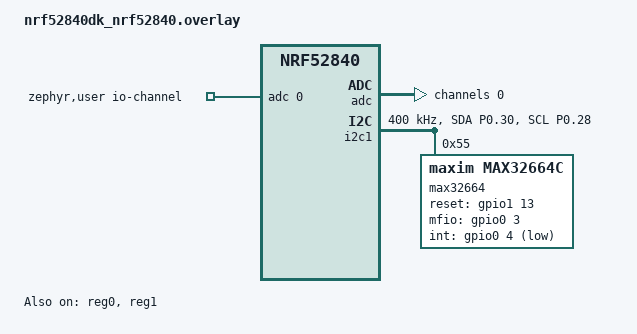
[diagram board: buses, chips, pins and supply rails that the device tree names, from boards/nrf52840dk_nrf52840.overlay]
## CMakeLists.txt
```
cmake_minimum_required(VERSION 3.20.0)

# 1. Tell Zephyr about the custom YAML binding we made
list(APPEND dts_root ${CMAKE_CURRENT_SOURCE_DIR})

find_package(Zephyr REQUIRED HINTS $ENV{ZEPHYR_BASE})
project(PPG)

# 2. Compile all the driver files
target_sources(app PRIVATE
    src/main.c
    src/event_log.c
    # src/max32664_fw.h
    src/ble.c
    src/max32664c.c
    src/max32664c_init.c
    src/max32664c_worker.c
    src/max32664c_interrupt.c
    src/max32664c_acc.c
    src/max32664c_bl.c
)
```

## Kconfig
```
menu "MAX32664C Configuration"
    config MAX32664C_QUEUE_SIZE
        int "Queue size"
        default 10
    config MAX32664C_SAMPLE_BUFFER_SIZE
        int "I2C Sample buffer size"
        default 10
    config MAX32664C_THREAD_STACK_SIZE
        int "Worker thread stack size"
        default 1024
    config MAX32664C_USE_STATIC_MEMORY
        bool "Use static memory"
        default y
    config MAX32664C_USE_EXTENDED_REPORTS
        bool "Use extended reports"
        default n
    config MAX32664C_USE_INTERRUPT
        bool "Use interrupt"
        default n
    config MAX32664C_USE_EXTERNAL_ACC
        bool "Use external accelerometer"
        default n
endmenu

source "Kconfig.zephyr"
```

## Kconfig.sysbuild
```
#
# Copyright (c) 2024 Nordic Semiconductor
#
# SPDX-License-Identifier: LicenseRef-Nordic-5-Clause
#

source "share/sysbuild/Kconfig"

config NRF_DEFAULT_IPC_RADIO
	default y
```

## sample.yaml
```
# sample:
#   description: Peripheral with multiple identities sample
#   name: Peripheral with multiple identities
# tests:
#   sample.bluetooth.peripheral_with_multiple_identities:
#     sysbuild: true
#     integration_platforms:
#       - nrf52840dk/nrf52840
#       - nrf5340dk/nrf5340/cpuapp
#       - nrf54l15dk/nrf54l05/cpuapp
#       - nrf54l15dk/nrf54l10/cpuapp
#       - nrf54l15dk/nrf54l15/cpuapp
#       - nrf54h20dk/nrf54h20/cpurad
#       - nrf54lm20dk/nrf54lm20a/cpuapp
#       - nrf54lv10dk/nrf54lv10a/cpuapp
#     platform_allow:
#       - nrf52840dk/nrf52840
#       - nrf5340dk/nrf5340/cpuapp
#       - nrf54l15dk/nrf54l05/cpuapp
#       - nrf54l15dk/nrf54l10/cpuapp
#       - nrf54l15dk/nrf54l15/cpuapp
#       - nrf54h20dk/nrf54h20/cpurad
#       - nrf54lm20dk/nrf54lm20a/cpuapp
#       - nrf54lv10dk/nrf54lv10a/cpuapp
#       - nrf54lv10dk/nrf54lv10a/cpuapp/ns
#     tags:
#       - bluetooth
#       - ci_build
#       - sysbuild
#     harness: console
#     harness_config:
#       type: multi_line
#       ordered: true
#       regex:
#         - "Bluetooth initialized"
#         - "Advertiser 19 successfully started"
#     timeout: 15


sample:
  name: Heart Rate Sensor Sample
common:
  filter: dt_alias_exists("heart-rate-sensor")
  harness: sensor
tests:
  sample.sensor.heart_rate:
    tags: sensors
    platform_allow: hexiwear/mk64f12
    depends_on:
      - i2c
    integration_platforms:
      - hexiwear/mk64f12
  sample.sensor.heart_rate_interrupt:
    tags: sensors
    platform_allow: nrf52840dk/nrf52840
    depends_on:
      - i2c
    integration_platforms:
      - nrf52840dk/nrf52840
    extra_configs:
      - CONFIG_GPIO=y
      - CONFIG_MAX30101_TRIGGER_GLOBAL_THREAD=y
```

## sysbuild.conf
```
SB_CONFIG_BOOTLOADER_MCUBOOT=n
```

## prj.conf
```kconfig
CONFIG_NCS_SAMPLES_DEFAULTS=y
CONFIG_REGULATOR=y
CONFIG_ADC=y
CONFIG_POWEROFF=n

CONFIG_DEBUG_OPTIMIZATIONS=y
CONFIG_DEBUG_THREAD_INFO=y
CONFIG_DEBUG=y

# CONFIG_BOOTLOADER_MCUBOOT=y
# CONFIG_MCUMGR=y
# CONFIG_MCUMGR_TRANSPORT_BT=y
# CONFIG_MCUMGR_TRANSPORT_BT_CONN_PARAM_CONTROL=y
# CONFIG_MCUMGR_TRANSPORT_BT_REASSEMBLY=y
# CONFIG_MCUMGR_GRP_IMG=y
# CONFIG_MCUMGR_GRP_OS=y
# CONFIG_IMG_MANAGER=y
# CONFIG_FLASH=y
# CONFIG_FLASH_MAP=y
# CONFIG_STREAM_FLASH=y
# CONFIG_NET_BUF=y
# CONFIG_ZCBOR=y
# CONFIG_CRC=y

CONFIG_I2C=y
CONFIG_GPIO=y
CONFIG_SENSOR=y
CONFIG_FPU=n

CONFIG_BT_DEVICE_NAME="PPG_e785f6"
CONFIG_BT=y
CONFIG_BT_PERIPHERAL=y
CONFIG_BT_EXT_ADV=y
CONFIG_BT_GAP_AUTO_UPDATE_CONN_PARAMS=n
CONFIG_BT_GATT_CLIENT=y

CONFIG_BT_BUF_ACL_RX_SIZE=267
CONFIG_BT_BUF_ACL_TX_SIZE=267
CONFIG_BT_L2CAP_TX_MTU=263


CONFIG_CLOCK_CONTROL_NRF_K32SRC_XTAL=y
CONFIG_CLOCK_CONTROL_NRF_K32SRC_RC=n
CONFIG_BT_CTLR_SDC_MAX_CONN_EVENT_LEN_DEFAULT=0

CONFIG_STDOUT_CONSOLE=y

CONFIG_PM=n
CONFIG_PM_DEVICE=n
CONFIG_PM_DEVICE_RUNTIME=n

CONFIG_MAX32664C_USE_INTERRUPT=n
CONFIG_MAX32664C_QUEUE_SIZE=100

CONFIG_SERIAL=n
CONFIG_UART_CONSOLE=n
CONFIG_UART_NRFX=n
CONFIG_LOG=y
CONFIG_LOG_MODE_DEFERRED=n
CONFIG_LOG_TIMESTAMP_64BIT=y

CONFIG_HEAP_MEM_POOL_SIZE=4096

# CONFIG_PRINTK=n
# CONFIG_USE_SEGGER_RTT=n
# CONFIG_RTT_CONSOLE=n
# CONFIG_LOG_BACKEND_RTT=n
# CONFIG_SEGGER_RTT_MODE_NO_BLOCK_SKIP=n

CONFIG_PRINTK=y
CONFIG_USE_SEGGER_RTT=y
CONFIG_RTT_CONSOLE=y
CONFIG_LOG_BACKEND_RTT=y
CONFIG_SEGGER_RTT_MODE_NO_BLOCK_SKIP=y
CONFIG_LOG_MODE_MINIMAL=n
```

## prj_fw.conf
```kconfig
CONFIG_NCS_SAMPLES_DEFAULTS=y
# Increase I2C timeout for the 8KB page transfers
CONFIG_I2C_NRFX_TRANSFER_TIMEOUT=500

# Ensure the I2C driver is using the high-performance DMA (TWIM)
CONFIG_I2C_NRFX=y

CONFIG_I2C=y
CONFIG_GPIO=y

CONFIG_PRINTK=y
CONFIG_STDOUT_CONSOLE=y

CONFIG_USE_SEGGER_RTT=y
CONFIG_RTT_CONSOLE=y
CONFIG_LOG=n
CONFIG_SERIAL=n
CONFIG_UART_CONSOLE=n
CONFIG_UART_NRFX=n

CONFIG_MAIN_STACK_SIZE=4096
CONFIG_HEAP_MEM_POOL_SIZE=16384
CONFIG_ASSERT=y

# CONFIG_NCS_SAMPLES_DEFAULTS=y
# CONFIG_REGULATOR=y
# CONFIG_ADC=y
# CONFIG_POWEROFF=y

# # CONFIG_BOOTLOADER_MCUBOOT=y
# # CONFIG_NCS_SAMPLE_MCUMGR_BT_OTA_DFU=y
# # CONFIG_MCUMGR=y
# # CONFIG_MCUMGR_TRANSPORT_BT=y
# # CONFIG_MCUMGR_GRP_IMG=y
# # CONFIG_MCUMGR_GRP_OS=y

# CONFIG_I2C=y
# CONFIG_GPIO=y
# CONFIG_SENSOR=y
# CONFIG_FPU=n

# CONFIG_BT_DEVICE_NAME="ADS1292"
# CONFIG_BT=y
# CONFIG_BT_PERIPHERAL=y
# CONFIG_BT_EXT_ADV=y
# CONFIG_BT_GAP_AUTO_UPDATE_CONN_PARAMS=n
# CONFIG_BT_GATT_CLIENT=y

# CONFIG_BT_BUF_ACL_RX_SIZE=267
# CONFIG_BT_BUF_ACL_TX_SIZE=267
# CONFIG_BT_L2CAP_TX_MTU=263


# CONFIG_CLOCK_CONTROL_NRF_K32SRC_XTAL=y
# CONFIG_CLOCK_CONTROL_NRF_K32SRC_RC=n
# CONFIG_BT_CTLR_SDC_MAX_CONN_EVENT_LEN_DEFAULT=0

# CONFIG_STDOUT_CONSOLE=y

# CONFIG_PM=y
# CONFIG_PM_DEVICE=y
# CONFIG_PM_DEVICE_RUNTIME=y
# CONFIG_MAX32664C_USE_INTERRUPT=n

# CONFIG_SERIAL=n
# CONFIG_UART_CONSOLE=n
# CONFIG_UART_NRFX=n
# CONFIG_LOG=n
# CONFIG_LOG_MODE_DEFERRED=n

# CONFIG_HEAP_MEM_POOL_SIZE=16384

# # CONFIG_PRINTK=n
# # CONFIG_USE_SEGGER_RTT=n
# # CONFIG_RTT_CONSOLE=n
# # CONFIG_LOG_BACKEND_RTT=n
# # CONFIG_SEGGER_RTT_MODE_NO_BLOCK_SKIP=n

# CONFIG_PRINTK=y
# CONFIG_USE_SEGGER_RTT=y
# CONFIG_RTT_CONSOLE=y
# CONFIG_LOG_BACKEND_RTT=y
# CONFIG_SEGGER_RTT_MODE_NO_BLOCK_SKIP=y
```

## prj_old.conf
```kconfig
CONFIG_NCS_SAMPLES_DEFAULTS=y
CONFIG_REGULATOR=y
CONFIG_ADC=y
CONFIG_POWEROFF=y

# CONFIG_BOOTLOADER_MCUBOOT=y
# CONFIG_NCS_SAMPLE_MCUMGR_BT_OTA_DFU=y
# CONFIG_MCUMGR=y
# CONFIG_MCUMGR_TRANSPORT_BT=y
# CONFIG_MCUMGR_GRP_IMG=y
# CONFIG_MCUMGR_GRP_OS=y

CONFIG_I2C=y
CONFIG_GPIO=y
CONFIG_SENSOR=y
CONFIG_FPU=n

CONFIG_BT_DEVICE_NAME="ADS1292"
CONFIG_BT=y
CONFIG_BT_PERIPHERAL=y
CONFIG_BT_EXT_ADV=y
CONFIG_BT_GAP_AUTO_UPDATE_CONN_PARAMS=n
CONFIG_BT_GATT_CLIENT=y

CONFIG_BT_BUF_ACL_RX_SIZE=267
CONFIG_BT_BUF_ACL_TX_SIZE=267
CONFIG_BT_L2CAP_TX_MTU=263


CONFIG_CLOCK_CONTROL_NRF_K32SRC_XTAL=y
CONFIG_CLOCK_CONTROL_NRF_K32SRC_RC=n
CONFIG_BT_CTLR_SDC_MAX_CONN_EVENT_LEN_DEFAULT=0

CONFIG_STDOUT_CONSOLE=y
CONFIG_PM=y
CONFIG_PM_DEVICE=y
CONFIG_PM_DEVICE_RUNTIME=y

CONFIG_MAX32664C_USE_INTERRUPT=n
CONFIG_MAX32664C_QUEUE_SIZE=100

CONFIG_SERIAL=n
CONFIG_UART_CONSOLE=n
CONFIG_UART_NRFX=n
CONFIG_LOG=n
CONFIG_LOG_MODE_DEFERRED=n

CONFIG_HEAP_MEM_POOL_SIZE=4096

# CONFIG_PRINTK=n
# CONFIG_USE_SEGGER_RTT=n
# CONFIG_RTT_CONSOLE=n
# CONFIG_LOG_BACKEND_RTT=n
# CONFIG_SEGGER_RTT_MODE_NO_BLOCK_SKIP=n

CONFIG_PRINTK=y
CONFIG_USE_SEGGER_RTT=y
CONFIG_RTT_CONSOLE=y
CONFIG_LOG_BACKEND_RTT=y
CONFIG_SEGGER_RTT_MODE_NO_BLOCK_SKIP=y
```

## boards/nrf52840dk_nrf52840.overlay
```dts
#include <zephyr/dt-bindings/gpio/gpio.h>
#include <zephyr/dt-bindings/i2c/i2c.h>
#include <zephyr/dt-bindings/pinctrl/nrf-pinctrl.h>
#include <zephyr/dt-bindings/adc/adc.h>
#include <zephyr/dt-bindings/regulator/nrf5x.h>


/ {
    zephyr,user {
        /* This maps the "zephyr_user" path in your main.c to ADC channel 0 */
        io-channels = <&adc 0>;
    };
};

&adc {
    status = "okay";
    #address-cells = <1>;
    #size-cells = <0>;

    channel@0 {
        reg = <0>;
        zephyr,gain = "ADC_GAIN_1_2";
        zephyr,reference = "ADC_REF_INTERNAL";
        zephyr,acquisition-time = <ADC_ACQ_TIME_DEFAULT>;
        zephyr,input-positive = <NRF_SAADC_VDDHDIV5>;
        zephyr,resolution = <12>;
    };
};

&reg0 {
    status = "okay";
};

&reg1 {
    status = "okay";
    regulator-initial-mode = <NRF5X_REG_MODE_LDO>;
};

&pinctrl {
    i2c1_default: i2c1_default {
        group1 {
            psels = <NRF_PSEL(TWIM_SDA, 0, 30)>,
                    <NRF_PSEL(TWIM_SCL, 0, 28)>;
            // bias-pull-up;
        };
    };

    i2c1_sleep: i2c1_sleep {
        group1 {
            psels = <NRF_PSEL(TWIM_SDA, 0, 30)>,
                    <NRF_PSEL(TWIM_SCL, 0, 28)>;
            low-power-enable;
        };
    };
};

&i2c1 {
    compatible = "nordic,nrf-twim";
    status = "okay";
    pinctrl-0 = <&i2c1_default>;
    pinctrl-1 = <&i2c1_sleep>;
    pinctrl-names = "default", "sleep";
    clock-frequency = <400000>;


    max32664: max32664@55 {
        compatible = "maxim,max32664c";
        reg = <0x55>;
        status = "okay";

        reset-gpios = <&gpio1 13 GPIO_ACTIVE_HIGH>;
        mfio-gpios = <&gpio0 3 GPIO_ACTIVE_HIGH>;
        int-gpios  = <&gpio0 4 (GPIO_PULL_UP | GPIO_ACTIVE_LOW)>;

        use-max86141;
        report-period = <1>;

        led-current = <20 20 20>;
        spo2-calib = <15958422 1847171 (-10546543)>;
        hr-config = [00 01];
        spo2-config = [11 21];
        motion-threshold = <10>;
        motion-time = <1>;

        /* Enums mapped to the YAML binding */
        min-integration-time = "0.4ms";
        max-integration-time = "1.6ms";
        min-sampling-rate = "100Hz";
        max-sampling-rate = "400Hz";
    };
};

&gpio1 {
	status = "okay";
};
```

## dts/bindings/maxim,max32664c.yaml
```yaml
# dts/bindings/maxim,max32664c.yaml
description: MAX32664C Biometric Sensor Hub
compatible: "maxim,max32664c"
include: i2c-device.yaml

properties:
  reset-gpios:
    type: phandle-array
    required: true
  mfio-gpios:
    type: phandle-array
    required: true
  int-gpios:
    type: phandle-array
  use-max86141:
    type: boolean
  use-max86161:
    type: boolean
  report-period:
    type: int
  led-current:
    type: array
  spo2-calib:
    type: array
  hr-config:
    type: uint8-array
  spo2-config:
    type: uint8-array
  motion-threshold:
    type: int
  motion-time:
    type: int
  min-integration-time:
    type: string
    enum: ["0.4ms", "0.8ms", "1.6ms"]
  max-integration-time:
    type: string
    enum: ["0.4ms", "0.8ms", "1.6ms"]
  min-sampling-rate:
    type: string
    enum: ["100Hz", "400Hz"]
  max-sampling-rate:
    type: string
    enum: ["100Hz", "400Hz"]
```

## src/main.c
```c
#include <zephyr/kernel.h>
#include <zephyr/device.h>
#include <zephyr/drivers/sensor.h>
#include <zephyr/drivers/gpio.h>
#include <zephyr/sys/printk.h>
#include <zephyr/bluetooth/bluetooth.h>
#include <zephyr/bluetooth/conn.h>
#include <zephyr/drivers/adc.h>
#include <zephyr/sys/poweroff.h>
#include <hal/nrf_gpio.h>
#include <zephyr/pm/device.h>
#include <hal/nrf_power.h>
#include <nrfx.h>
#include <zephyr/pm/device_runtime.h>
#include <zephyr/sys/atomic.h>
#include <zephyr/sys/time_units.h>
#include <zephyr/sys/util.h>
#include <limits.h>

#include "max32664c.h"
#include "max32664c_api.h"
#include "ble.h"
#include "event_log.h"

/* --- Hardware Pin Definitions --- */
#define MAX32664_RSTN_PIN  13  // Pin 1.13 (Reset)
#define MAX32664_MFIO_PIN  3   // Pin 0.3  (Multi-Function IO)
#define PACKET_LEN 20
#define SENSOR_RING_CAPACITY 2000
#define MAX_FETCH_PER_PASS 1
#define MAX_NOTIFY_BATCHES_PER_PASS 1
#define BACKLOG_NOTIFY_BOOST_THRESHOLD 50
#define MAX_NOTIFY_BATCHES_PER_PASS_BOOSTED 2
#define DEBUG_STATS_INTERVAL_MS 1000
#define BLE_TX_THREAD_STACK_SIZE 2048
#define BLE_TX_THREAD_PRIORITY 5
// #define AVG_WINDOW 20

// typedef struct {
//     float samples[AVG_WINDOW];
//     float sum;
//     int index;
//     int count;
// } MovingAverage;

// void moving_average_init(MovingAverage *ma) {
//     ma->sum = 0.0f;
//     ma->index = 0;
//     ma->count = 0;
//     for (int i = 0; i < AVG_WINDOW; i++) {
//         ma->samples[i] = 0.0f;
//     }
// }

// float moving_average_update(MovingAverage *ma, float sample) {
//     if (ma->count < AVG_WINDOW) {
//         ma->samples[ma->index] = sample;
//         ma->sum += sample;
//         ma->count++;
//     } else {
//         ma->sum -= ma->samples[ma->index];
//         ma->samples[ma->index] = sample;
//         ma->sum += sample;
//     }

//     ma->index = (ma->index + 1) % AVG_WINDOW;
//     return ma->sum / (float)ma->count;
// }

/* Structure for BLE data transmission */
struct __packed sensor_packet {
    uint32_t timestamp;
    uint32_t ecg;   // GREEN LED Data
    uint32_t resp;  // Battery Data
};

struct sensor_ring_buffer {
    struct sensor_packet packets[SENSOR_RING_CAPACITY];
    size_t write_idx;
    size_t read_idx;
    size_t used;
    uint32_t overwritten_samples;
};

static struct sensor_ring_buffer sample_ring;
static struct sensor_packet notify_batch[PACKET_LEN];
static atomic_t session_active = ATOMIC_INIT(0);
static atomic_t explicit_stop_requested = ATOMIC_INIT(0);
static uint64_t session_start_ms;
static bool sensor_streaming;
K_MUTEX_DEFINE(session_lock);
static K_MUTEX_DEFINE(ring_lock);
static K_THREAD_STACK_DEFINE(ble_tx_thread_stack, BLE_TX_THREAD_STACK_SIZE);
static struct k_thread ble_tx_thread_data;

// MovingAverage battery_avg;

K_SEM_DEFINE(ble_ready_sem, 0, 1);

static int regulators_init(void)
{
    NRF_POWER->DCDCEN0 = 1;  /* REG0 -> DC/DC */
    NRF_POWER->DCDCEN  = 0;  /* REG1 -> LDO  */
    NRF_SPIM3->ENABLE = 0;
    *(volatile uint32_t *)0x4002F004 = 1;

    return 0;
}

SYS_INIT(regulators_init, PRE_KERNEL_1, 0);

/* Global Device Pointers */
const struct device *gpio0_dev = DEVICE_DT_GET(DT_NODELABEL(gpio0));
const struct device *gpio1_dev = DEVICE_DT_GET(DT_NODELABEL(gpio1));
const struct device *max32664_dev;
static const struct adc_dt_spec adc_channel = ADC_DT_SPEC_GET(DT_PATH(zephyr_user));
const struct i2c_dt_spec max32664_i2c_spec = I2C_DT_SPEC_GET(DT_NODELABEL(max32664));

extern int max32664c_init(const struct device *dev);
extern int max32664c_pm_action(const struct device *dev, enum pm_device_action action);
extern int max32664c_disable_sensors(const struct device *dev);
extern int max32664c_afe_write_reg(const struct device *dev, uint8_t reg, uint8_t val);


/******************** Function Prototypes ********************/
uint32_t read_battery_mv(void);
void on_ble_connect(struct bt_conn *conn, uint8_t err);
void on_ble_disconnect(struct bt_conn *conn, uint8_t reason);
extern int max32664c_i2c_transmit(const struct device *dev, uint8_t *tx_buf, uint8_t tx_len,
                                  uint8_t *rx_buf, uint32_t rx_len, uint16_t delay_ms);
int measurement_session_start(void);
int measurement_session_stop(bool explicit_stop);


int16_t adc_buf;
struct adc_sequence sequence = {
    .buffer = &adc_buf,
    .buffer_size = sizeof(adc_buf),
};

uint32_t read_battery_mv(void) {
    if (adc_read(adc_channel.dev, &sequence) < 0) return 0;

    int32_t val_uv = adc_buf;
    adc_raw_to_microvolts_dt(&adc_channel, &val_uv);
    return (uint32_t)((val_uv * 5 + 500) / 1000);
}

void on_ble_connect(struct bt_conn *conn, uint8_t err) {
    int start_err = 0;

    ARG_UNUSED(conn);
    event_log_add(EVENT_LOG_BLE_CONNECTED, err);
    event_log_dump();

    max32664c_reset_hub(max32664_dev);
    max32664c_reset_sample_counter_state();
    // sample_ring_clear();
    k_msleep(20);
    err = max32664c_set_mode_raw(max32664_dev);

    if (!err && !atomic_get(&session_active)) {
        start_err = measurement_session_start();
    }

    printk("Application BLE connected err=%u session_active=%ld\n",
           err, (long)atomic_get(&session_active));
    if (start_err) {
        printk("Auto-start session failed err=%d\n", start_err);
    }
}

void on_ble_disconnect(struct bt_conn *conn, uint8_t reason)
{
    event_log_add(EVENT_LOG_BLE_DISCONNECTED, reason);
    volatile uint8_t disconnect_reason = reason;

    int err = measurement_session_stop(true);

    if (err) {
        printk("Failed to stop session on BLE disconnect err=%d\n", err);
    }

    ARG_UNUSED(conn);
    printk("Application BLE disconnected reason=%u explicit_stop=%ld session_active=%ld\n",
           reason,
           (long)atomic_get(&explicit_stop_requested),
           (long)atomic_get(&session_active));
}

struct bt_conn_cb connection_callbacks = {
    .connected = on_ble_connect,
    .disconnected = on_ble_disconnect,
};

static void sample_ring_clear(void)
{
    k_mutex_lock(&ring_lock, K_FOREVER);
    sample_ring.write_idx = 0;
    sample_ring.read_idx = 0;
    sample_ring.used = 0;
    k_mutex_unlock(&ring_lock);
}

static void sample_ring_push(const struct sensor_packet *packet)
{
    k_mutex_lock(&ring_lock, K_FOREVER);
    if (sample_ring.used == SENSOR_RING_CAPACITY) {
        sample_ring.read_idx = (sample_ring.read_idx + 1U) % SENSOR_RING_CAPACITY;
        sample_ring.used--;
        sample_ring.overwritten_samples++;
    }

    sample_ring.packets[sample_ring.write_idx] = *packet;
    sample_ring.write_idx = (sample_ring.write_idx + 1U) % SENSOR_RING_CAPACITY;
    sample_ring.used++;
    k_mutex_unlock(&ring_lock);
}

static size_t sample_ring_peek_batch(struct sensor_packet *dest, size_t max_packets)
{
    size_t to_copy;

    k_mutex_lock(&ring_lock, K_FOREVER);
    to_copy = MIN(sample_ring.used, max_packets);

    for (size_t i = 0; i < to_copy; i++) {
        size_t idx = (sample_ring.read_idx + i) % SENSOR_RING_CAPACITY;
        dest[i] = sample_ring.packets[idx];
    }

    k_mutex_unlock(&ring_lock);
    return to_copy;
}

static void sample_ring_consume(size_t count)
{
    size_t consumed;

    k_mutex_lock(&ring_lock, K_FOREVER);
    consumed = MIN(count, sample_ring.used);
    sample_ring.read_idx = (sample_ring.read_idx + consumed) % SENSOR_RING_CAPACITY;
    sample_ring.used -= consumed;
    k_mutex_unlock(&ring_lock);
}

static size_t sample_ring_used(void)
{
    size_t used;

    k_mutex_lock(&ring_lock, K_FOREVER);
    used = sample_ring.used;
    k_mutex_unlock(&ring_lock);

    return used;
}

static void ble_tx_thread(void *arg1, void *arg2, void *arg3)
{
    ARG_UNUSED(arg1);
    ARG_UNUSED(arg2);
    ARG_UNUSED(arg3);

    while (1) {
        size_t notify_budget = MAX_NOTIFY_BATCHES_PER_PASS;

        if (sample_ring_used() >= BACKLOG_NOTIFY_BOOST_THRESHOLD) {
            notify_budget = MAX_NOTIFY_BATCHES_PER_PASS_BOOSTED;
        }

        for (size_t i = 0; i < notify_budget; i++) {
            size_t batch_count = sample_ring_peek_batch(notify_batch, PACKET_LEN);
            int err;

            if (!ble_is_ready()) {
                break;
            }

            if (batch_count < PACKET_LEN) {
                break;
            }

            err = ble_send_sensor_data(notify_batch,
                                       batch_count * sizeof(notify_batch[0]));

            if (err) {
                printk("BLE send failed with err=%d\n", err);
                break;
            }

            sample_ring_consume(batch_count);
        }

        k_msleep(15);
    }
}

static int sensor_stream_start_locked(void)
{
    int err;
    struct sensor_value red_curr = { .val1 = 0 };
    struct sensor_value ir_curr = { .val1 = 0 };
    struct sensor_value green_curr = { .val1 = 5 };

    if (sensor_streaming) {
        return 0;
    }

    gpio_pin_configure(gpio1_dev, MAX32664_RSTN_PIN, GPIO_OUTPUT_HIGH);
    gpio_pin_configure(gpio0_dev, MAX32664_MFIO_PIN, GPIO_OUTPUT_HIGH);
    k_msleep(20);

    sensor_attr_set(max32664_dev, SENSOR_CHAN_RED, SENSOR_ATTR_CONFIGURATION, &red_curr);
    sensor_attr_set(max32664_dev, SENSOR_CHAN_IR, SENSOR_ATTR_CONFIGURATION, &ir_curr);
    sensor_attr_set(max32664_dev, SENSOR_CHAN_GREEN, SENSOR_ATTR_CONFIGURATION, &green_curr);


    err = max32664c_set_mode_raw(max32664_dev);
    if (!err) {
        sensor_streaming = true;
        printk("Measurement session started\n");
    } else {
        printk("Failed to enter raw mode err=%d\n", err);
    }

    return err;
}

static int sensor_stream_stop_locked(void)
{
    int err = 0;
    struct sensor_value idle = { .val1 = MAX32664C_OP_MODE_IDLE };

    if (!sensor_streaming) {
        return 0;
    }

    err = sensor_attr_set(max32664_dev, SENSOR_CHAN_ALL,
                          SENSOR_ATTR_MAX32664C_OP_MODE, &idle);
    if (err) {
        printk("Failed to set sensor idle err=%d\n", err);
    }

    k_msleep(20);
    gpio_pin_set(gpio1_dev, MAX32664_RSTN_PIN, 1);
    gpio_pin_set(gpio0_dev, MAX32664_MFIO_PIN, 1);
    k_msleep(20);

    sensor_streaming = false;
    printk("Measurement session stopped\n");

    return err;
}

int measurement_session_start(void)
{
    int err;

    k_mutex_lock(&session_lock, K_FOREVER);
    atomic_set(&explicit_stop_requested, 0);
    atomic_set(&session_active, 1);

    max32664c_reset_sample_counter_state();

    err = sensor_stream_start_locked();
    if (err) {
        atomic_set(&session_active, 0);
    } else {
        session_start_ms = k_uptime_get();
    }
    event_log_add(EVENT_LOG_SESSION_START, err);
    k_mutex_unlock(&session_lock);

    return err;
}

int measurement_session_stop(bool explicit_stop)
{
    int err;

    k_mutex_lock(&session_lock, K_FOREVER);
    atomic_set(&explicit_stop_requested, explicit_stop ? 1 : 0);
    atomic_set(&session_active, 0);

    err = sensor_stream_stop_locked();
    // sample_ring_clear();
    event_log_add(EVENT_LOG_SESSION_STOP, err);

    k_mutex_unlock(&session_lock);

    return err;
}


// void shutdown_everything_low_batt(void)
// {
//     // event_log_add(EVENT_LOG_LOW_BATT_SHUTDOWN, 0);
//     printk("Battery critically low. Shutting down everything...\n");

//     int err = max32664c_disable_sensors(max32664_dev);
//     printk("Disabled sensors with err=%d\n", err);

//     measurement_session_stop(true);
//     printk("Measurement session stopped.\n");

//     err = max32664c_afe_write_reg(max32664_dev, 0x0D, 0x01);
//     printk("Set AFE shutdown reg 0x0D = 0x01 err=%d\n", err);
//     k_msleep(50);

//     // int err = pm_device_action_run(max32664_dev, PM_DEVICE_ACTION_TURN_OFF);
//     // printk("Turn off MAX32664 err=%d\n", err);
//     // k_msleep(50);

//     uint8_t tx[3] = {0x01, 0x00, 0x01};
//     uint8_t rx;
//     max32664c_i2c_transmit(max32664_dev, tx, sizeof(tx), &rx, 1, 10);
//     k_msleep(50);

//     // const struct device *i2c_dev = DEVICE_DT_GET(DT_NODELABEL(i2c1));
//     // err = pm_device_action_run(i2c_dev, PM_DEVICE_ACTION_SUSPEND);
//     // printk("Suspend I2C device err=%d\n", err);

//     k_msleep(50);

//     sys_poweroff();
// }


/* --- Main Application --- */
int main(void) {
    // event_log_init();
    // event_log_add(EVENT_LOG_BOOT, (int16_t)(event_log_boot_count() & 0x7FFFu));
    // event_log_add(EVENT_LOG_MAIN_ENTER, 0);

    gpio_pin_configure(gpio1_dev, MAX32664_RSTN_PIN, GPIO_OUTPUT_HIGH);
    gpio_pin_configure(gpio0_dev, MAX32664_MFIO_PIN, GPIO_OUTPUT_HIGH);

    max32664_dev = DEVICE_DT_GET(DT_NODELABEL(max32664));
    if (!device_is_ready(max32664_dev)) {
        printk("WARNING: MAX32664 driver not ready yet.\n");
    // } else {
    //     event_log_add(EVENT_LOG_SENSOR_READY, 1);
    }

    if (adc_is_ready_dt(&adc_channel)) {
        adc_channel_setup_dt(&adc_channel);
        adc_sequence_init_dt(&adc_channel, &sequence);
    }

    bt_conn_cb_register(&connection_callbacks);
    // event_log_add(EVENT_LOG_BLE_INIT_START, 0);
    ble_init();
    // event_log_add(EVENT_LOG_BLE_INIT_DONE, 0);
    printk("Advertising started. Waiting for connection...\n");
    // event_log_add(EVENT_LOG_ADV_STARTED, 0);

    k_msleep(100);
    k_thread_create(&ble_tx_thread_data, ble_tx_thread_stack,
                    K_THREAD_STACK_SIZEOF(ble_tx_thread_stack),
                    ble_tx_thread, NULL, NULL, NULL,
                    BLE_TX_THREAD_PRIORITY, 0, K_NO_WAIT);

    struct sensor_value green;
    struct sensor_value counter;
    // static int low_batt_count = 0;
    uint32_t battery_mv = 0;

    // moving_average_init(&battery_avg);

    // uint64_t now = k_uptime_get();
    battery_mv = read_battery_mv();

    while (1) {

        // if (k_uptime_get() - now >= 120000) {

        //     // battery_mv = read_battery_mv();
        //     // event_log_add(EVENT_LOG_LOW_BATT_CHECK, (int16_t)MIN(battery_mv, (uint32_t)INT16_MAX));

        //     now = k_uptime_get();

        //     // send battery via BLE advertisement or notification here if needed

        //     // ble_send_sensor_data(&battery_packet, sizeof(battery_packet));

        //     if (battery_mv > 0 && battery_mv < 3550) {
        //         low_batt_count++;
        //     } else {
        //         low_batt_count = 0;
        //     }

        //     // For safety, if battery voltage is critically low, shut down everything immediately
        //     if (battery_mv < 3400) {
        //         shutdown_everything_low_batt();
        //     }

        //     if (low_batt_count >= 3) {
        //         shutdown_everything_low_batt();
        //     }
        // }

        for (size_t i = 0; i < MAX_FETCH_PER_PASS; i++) {
            struct sensor_packet packet;
            int err;
            // size_t ring_used_now;
            k_mutex_lock(&session_lock, K_FOREVER); // Protect the fetch operation
            if (!atomic_get(&session_active)) {
                k_mutex_unlock(&session_lock);
                break;
            }

            err = sensor_sample_fetch(max32664_dev);
            if (!err) {
                sensor_channel_get(max32664_dev, SENSOR_CHAN_GREEN, &green);
                // sensor_channel_get(max32664_dev, SENSOR_CHAN_RED, &red);
                // sensor_channel_get(max32664_dev, SENSOR_CHAN_IR, &ir);
                sensor_channel_get(max32664_dev, SENSOR_CHAN_MAX32664C_SAMPLE_COUNTER, &counter);
            }
            k_mutex_unlock(&session_lock);

            // if (err)  {
            //     // event_log_add(EVENT_LOG_SENSOR_FETCH_ERR, err);
            //     break;
            // }

            if (!err) {
                packet.timestamp = (uint32_t)counter.val1;
                // packet.timestamp = (uint32_t)(k_uptime_get() - session_start_ms);
                packet.ecg = green.val1;
                packet.resp = read_battery_mv(); //battery_mv;
            }
            else {
                packet.timestamp = 999999U;
                // packet.timestamp = (uint32_t)(k_uptime_get() - session_start_ms);
                packet.ecg = 999999U;
                packet.resp = read_battery_mv(); //battery_mv;
            }

            sample_ring_push(&packet);

        }
        k_msleep(21);
    }

    return 0;
}
```

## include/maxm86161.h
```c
#ifndef MAXM86161_LITE_H
#define MAXM86161_LITE_H

#include <zephyr/drivers/i2c.h>

#define MAXM86161_ADDR 0x62
#define MAXM86161_PART_ID 0x36

// Registers
#define REG_IRQ_STATUS1      0x00
#define REG_FIFO_DATA_COUNTER 0x07
#define REG_FIFO_DATA         0x08
#define REG_SYSTEM_CONTROL    0x0D
#define REG_PPG_CONFIG1       0x11
#define REG_PPG_CONFIG2       0x12
#define REG_LED_SEQ1          0x20
#define REG_LED_SEQ2          0x21
#define REG_PART_ID           0xFF

typedef struct {
    uint32_t led1;
    uint32_t led2;
    uint32_t led3;
    uint32_t ambient;
} maxm86161_sample_t;

int maxm86161_init(const struct i2c_dt_spec *spec);
int maxm86161_read_fifo(const struct i2c_dt_spec *spec, maxm86161_sample_t *samples, int max_count);
int maxm86161_start(const struct i2c_dt_spec *spec);
int maxm86161_stop(const struct i2c_dt_spec *spec);

#endif
```

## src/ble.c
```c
#include "ble.h"
#include <zephyr/kernel.h>
#include <zephyr/sys/printk.h>

#include <zephyr/bluetooth/bluetooth.h>
#include <zephyr/bluetooth/conn.h>
#include <zephyr/bluetooth/hci.h>
#include <zephyr/bluetooth/gatt.h>

#include "max32664c.h"
#include "max32664c_api.h"

#define CTRL_CMD_LED_CURRENT_GREEN       0U
#define CTRL_CMD_LED_CURRENT_RED         1U
#define CTRL_CMD_ADC_RANGE         2U
#define CTRL_CMD_INTEGRATION_TIME  3U
#define CTRL_CMD_DELIVERED_RATE    4U
#define CTRL_CMD_AVERAGING         5U
#define CTRL_CMD_SESSION_START     6U
#define CTRL_CMD_SESSION_STOP      7U
#define CTRL_CMT_PICKET_FENCE      8U
#define ADV_FAST_INTERVAL_MS       200U
#define ADV_SLOW_INTERVAL_MS       200U
#define ADV_RECENT_CONN_WINDOW_MS  (15U * 60U * 1000U)

/* Nordic UART Service (NUS) UUIDs */
#define NUS_SVC_UUID BT_UUID_128_ENCODE(0x6e400001, 0xb5a3, 0xf393, 0xe0a9, 0xe50e24dcca9e)
#define NUS_RX_UUID  BT_UUID_128_ENCODE(0x6e400002, 0xb5a3, 0xf393, 0xe0a9, 0xe50e24dcca9e) // Write
#define NUS_TX_UUID  BT_UUID_128_ENCODE(0x6e400003, 0xb5a3, 0xf393, 0xe0a9, 0xe50e24dcca9e) // Notify

static struct bt_uuid_128 nus_svc = BT_UUID_INIT_128(NUS_SVC_UUID);
static struct bt_uuid_128 nus_tx  = BT_UUID_INIT_128(NUS_TX_UUID);
static struct bt_uuid_128 nus_rx  = BT_UUID_INIT_128(NUS_RX_UUID);

static const struct bt_data adv_data[] = {
	BT_DATA_BYTES(BT_DATA_FLAGS, (BT_LE_AD_GENERAL | BT_LE_AD_NO_BREDR)),
	BT_DATA(BT_DATA_NAME_COMPLETE, CONFIG_BT_DEVICE_NAME,
		(sizeof(CONFIG_BT_DEVICE_NAME) - 1)),
};

extern struct k_mutex session_lock;
extern const struct device *max32664_dev;
extern const struct i2c_dt_spec max32664_i2c_spec;
extern struct k_sem ble_ready_sem;
extern int measurement_session_start(void);
extern int measurement_session_stop(bool explicit_stop);

// volatile bool sensor_busy_updating = false;

/* Function prototypes */
static ssize_t write_ctrl_point(struct bt_conn *conn, const struct bt_gatt_attr *attr,
                                 const void *buf, uint16_t len, uint16_t offset, uint8_t flags);

static struct bt_conn *current_conn;
static bool notify_enabled;

extern int max32664c_i2c_transmit(const struct device *dev, uint8_t *tx_buf, uint8_t tx_len,
                                  uint8_t *rx_buf, uint32_t rx_len, uint16_t delay);

static uint8_t current_ppg_sr_code  = 0x04; // 200 sps AFE => ~100 delivered/s in your setup
static uint8_t current_smp_ave_code = 0x00; // no averaging

static struct bt_le_conn_param *conn_param = BT_LE_CONN_PARAM(20, 40, 0, 400);

static int afe_read_reg(const struct device *dev, uint8_t reg, uint8_t *val)
{
    uint8_t tx[3] = {0x41, 0x00, reg};
    uint8_t rx[2];

    int err = max32664c_i2c_transmit(dev, tx, sizeof(tx), rx, sizeof(rx), 10);
    if (err) {
        return err;
    }

    *val = rx[1];
    return 0;
}


static int afe_write_reg(const struct device *dev, uint8_t reg, uint8_t val)
{
    uint8_t tx[4] = {0x40, 0x00, reg, val};
    uint8_t rx;
    return max32664c_i2c_transmit(dev, tx, sizeof(tx), &rx, 1, 10);
}

static uint8_t make_reg12(uint8_t ppg_sr_code, uint8_t smp_ave_code)
{
    return ((ppg_sr_code & 0x1F) << 3) | (smp_ave_code & 0x07);
}

static void ccc_cfg_changed(const struct bt_gatt_attr *attr, uint16_t value)
{
    ARG_UNUSED(attr);
    notify_enabled = (value == BT_GATT_CCC_NOTIFY);
    printk("CCCD changed: notify %s\n", notify_enabled ? "ENABLED" : "DISABLED");

    if (notify_enabled) {
        k_sem_give(&ble_ready_sem);
    }
}



BT_GATT_SERVICE_DEFINE(my_service,
    BT_GATT_PRIMARY_SERVICE(&nus_svc),
    BT_GATT_CHARACTERISTIC(&nus_tx.uuid,
                           BT_GATT_CHRC_NOTIFY,
                           BT_GATT_PERM_READ,
                           NULL, NULL, NULL),
    BT_GATT_CCC(ccc_cfg_changed, BT_GATT_PERM_READ | BT_GATT_PERM_WRITE),

    BT_GATT_CHARACTERISTIC(&nus_rx.uuid,
                           BT_GATT_CHRC_WRITE | BT_GATT_CHRC_WRITE_WITHOUT_RESP,
                           BT_GATT_PERM_WRITE,
                           NULL, write_ctrl_point, NULL)
);

struct advertiser_info {
	struct k_work work;
	struct k_work_delayable interval_work;
	struct bt_le_ext_adv *adv;
	uint32_t current_interval_ms;
};

static struct advertiser_info singleton_adv;
static int64_t last_connection_timestamp_ms = -1;

static bool has_recent_connection(void)
{
	if (last_connection_timestamp_ms < 0) {
		return false;
	}

	return (k_uptime_get() - last_connection_timestamp_ms) < ADV_RECENT_CONN_WINDOW_MS;
}

static uint32_t get_target_adv_interval_ms(void)
{
	return has_recent_connection() ? ADV_FAST_INTERVAL_MS : ADV_SLOW_INTERVAL_MS;
}

static struct bt_le_adv_param make_adv_param(uint32_t interval_ms)
{
	return (struct bt_le_adv_param)BT_LE_ADV_PARAM_INIT(
		BT_LE_ADV_OPT_CONN,
		BT_GAP_MS_TO_ADV_INTERVAL(interval_ms),
		BT_GAP_MS_TO_ADV_INTERVAL(interval_ms),
		NULL
	);
}

static void schedule_interval_fallback(struct advertiser_info *info)
{
	int64_t remaining_ms;

	if (!has_recent_connection()) {
		k_work_cancel_delayable(&info->interval_work);
		return;
	}

	remaining_ms = ADV_RECENT_CONN_WINDOW_MS - (k_uptime_get() - last_connection_timestamp_ms);
	if (remaining_ms < 1) {
		remaining_ms = 1;
	}

	k_work_reschedule(&info->interval_work, K_MSEC(remaining_ms));
}

static void start_connectable_advertiser(struct k_work *work)
{
	struct advertiser_info *info = CONTAINER_OF(work, struct advertiser_info, work);
	struct bt_le_adv_param adv_param = make_adv_param(get_target_adv_interval_ms());
	uint32_t target_interval_ms = get_target_adv_interval_ms();
	int err;

	if (info->adv == NULL) {
		err = bt_le_ext_adv_create(&adv_param, NULL, &info->adv);
		if (err) {
			printk("Failed to create advertiser (err %d)\n", err);
			return;
		}

		err = bt_le_ext_adv_set_data(info->adv, adv_data, ARRAY_SIZE(adv_data), NULL, 0);
		if (err) {
			printk("Failed to set adv data (err %d)\n", err);
			return;
		}

		info->current_interval_ms = target_interval_ms;
	} else if (info->current_interval_ms != target_interval_ms) {
		err = bt_le_ext_adv_stop(info->adv);
		if (err) {
			printk("Advertiser stop before update returned %d\n", err);
		}

		err = bt_le_ext_adv_update_param(info->adv, &adv_param);
		if (err) {
			printk("Failed to update advertising interval to %u ms (err %d)\n",
			       target_interval_ms, err);
			return;
		}

		info->current_interval_ms = target_interval_ms;
	}

	err = bt_le_ext_adv_start(info->adv, BT_LE_EXT_ADV_START_DEFAULT);
	if (err) {
		printk("Failed to start advertising (err %d)\n", err);
	} else {
		printk("Advertiser started successfully (%u ms interval)\n", target_interval_ms);
		schedule_interval_fallback(info);
	}
}

static void advertiser_interval_work_handler(struct k_work *work)
{
	struct advertiser_info *info =
		CONTAINER_OF(k_work_delayable_from_work(work), struct advertiser_info, interval_work);

	k_work_submit(&info->work);
}

static void exchange_func(struct bt_conn *conn, uint8_t err,
			  struct bt_gatt_exchange_params *params)
{
	if (!err) {
		printk("MTU exchange successful! Current MTU: %d\n",
                        bt_gatt_get_mtu(conn));
	} else {
		printk("MTU exchange failed (err %d)\n", err);
	}
}

static struct bt_gatt_exchange_params exchange_params = {
	.func = exchange_func
};

static void connected(struct bt_conn *conn, uint8_t err)
{
    if (err) {
        printk("Connection failed (0x%02x)\n", err);
        return;
    }


    printk("Connected to client!\n");
    last_connection_timestamp_ms = k_uptime_get();
    k_work_cancel_delayable(&singleton_adv.interval_work);
    current_conn = bt_conn_ref(conn);

	int param_err = bt_conn_le_param_update(conn, conn_param);
    if (param_err) {
        printk("Connection interval update failed (err %d)\n", param_err);
    } else {
        printk("Connection interval update requested\n");
    }

    /* 1. Print the starting MTU (typically 23) */
    printk("Initial MTU: %d\n", bt_gatt_get_mtu(conn));

    /* 2. Start the exchange to expand the 'pipe' to 247 */
    /* This uses the exchange_params variable you already defined */
    int mtu_err = bt_gatt_exchange_mtu(conn, &exchange_params);
    if (mtu_err) {
        printk("MTU exchange failed to start (err %d)\n", mtu_err);
    }
}

static void disconnected(struct bt_conn *conn, uint8_t reason)
{
    printk("Disconnected (reason %u). Restarting...\n", reason);

    if (current_conn) {
        bt_conn_unref(current_conn);
        current_conn = NULL;
    }

    notify_enabled = false;
    k_work_submit(&singleton_adv.work);
}

static struct bt_conn_cb conn_callbacks = {
	.connected = connected,
	.disconnected = disconnected,
};

int ble_init(void)
{
    int err;

	printk("Starting Bluetooth Peripheral\n");

	err = bt_enable(NULL);
	if (err) {
		printk("BT init failed (err %d)\n", err);
		return 0;
	}

	bt_conn_cb_register(&conn_callbacks);
	printk("Bluetooth initialized\n");
	k_work_init(&singleton_adv.work, start_connectable_advertiser);
	k_work_init_delayable(&singleton_adv.interval_work, advertiser_interval_work_handler);
	k_work_submit(&singleton_adv.work);

    return 0;
}

int ble_send_sensor_data(const void *data, uint16_t len) {
    /* IMPORTANT: notify on the *characteristic value* attribute (attrs[2]) */
	if (!ble_is_ready()) {
        return -ENOTCONN;
    }
	else {
		return bt_gatt_notify(current_conn, &my_service.attrs[2], data, len);
	}
}

bool ble_is_ready(void) {
    return (current_conn != NULL && notify_enabled);
}

int ble_disconnect_current(void)
{
    if (current_conn == NULL) {
        return -ENOTCONN;
    }

    return bt_conn_disconnect(current_conn, BT_HCI_ERR_REMOTE_USER_TERM_CONN);
}

static ssize_t write_ctrl_point(struct bt_conn *conn, const struct bt_gatt_attr *attr,
                                const void *buf, uint16_t len, uint16_t offset, uint8_t flags)
{
    const uint8_t *data = buf;

    if (len < 2) {
        return BT_GATT_ERR(BT_ATT_ERR_INVALID_ATTRIBUTE_LEN);
    }

    uint8_t setting_id = data[0];
    uint8_t value      = data[1];

    switch (setting_id) {
    case CTRL_CMD_LED_CURRENT_GREEN:
    case CTRL_CMD_LED_CURRENT_RED:
    case CTRL_CMD_ADC_RANGE:
    case CTRL_CMD_INTEGRATION_TIME:
    case CTRL_CMD_DELIVERED_RATE:
    case CTRL_CMD_AVERAGING:
    case CTRL_CMD_SESSION_START:
    case CTRL_CMD_SESSION_STOP:
    case CTRL_CMT_PICKET_FENCE:
        break;
    default:
        printk("Ignoring unknown setting ID: %u value=%u\n", setting_id, value);
        return len;
    }

    if (setting_id == CTRL_CMD_SESSION_START) {
        int err = measurement_session_start();
        printk("BLE: start session err=%d\n", err);
        return len;
    }

    if (setting_id == CTRL_CMD_SESSION_STOP) {
        int err = measurement_session_stop(true);
        printk("BLE: stop session err=%d\n", err);

        err = ble_disconnect_current();
        if (err && err != -ENOTCONN) {
            printk("BLE: disconnect after stop err=%d\n", err);
        }
        return len;
    }

    printk("Received setting change request: ID=%u, Value=%u\n", setting_id, value);

    switch (setting_id) {
        case CTRL_CMD_LED_CURRENT_GREEN: { // LED current
            /* Roughly linear steps from 0 mA up to ~8 mA at the current LED range setting. */
            static const uint8_t delivered_to_afe_led_map[] = {0x00, 0x02, 0x04, 0x08, 0x12, 0x16};

            value = (value >= ARRAY_SIZE(delivered_to_afe_led_map)) ? delivered_to_afe_led_map[ARRAY_SIZE(delivered_to_afe_led_map) - 1]
                                                                : delivered_to_afe_led_map[value];

            k_mutex_lock(&session_lock, K_FOREVER);
            struct sensor_value val = { .val1 = value };
            sensor_attr_set(max32664_dev, SENSOR_CHAN_GREEN, SENSOR_ATTR_CONFIGURATION, &val);


            int err = afe_write_reg(max32664_dev, 0x23, value & 0xFF);
            printk("BLE: Set LED1 current reg 0x23 = 0x%02X err=%d\n", value & 0xFF, err);
            k_mutex_unlock(&session_lock);
            break;
        }
        case CTRL_CMD_LED_CURRENT_RED: { // LED current
            /* Roughly linear steps from 0 mA up to ~8 mA at the current LED range setting. */
            static const uint8_t delivered_to_afe_led_map[] = {0x00, 0x05, 0x09, 0x0E, 0x12, 0x16};

            value = (value >= ARRAY_SIZE(delivered_to_afe_led_map)) ? delivered_to_afe_led_map[ARRAY_SIZE(delivered_to_afe_led_map) - 1]
                                                                : delivered_to_afe_led_map[value];

            k_mutex_lock(&session_lock, K_FOREVER);
            struct sensor_value val = { .val1 = value };
            sensor_attr_set(max32664_dev, SENSOR_CHAN_RED, SENSOR_ATTR_CONFIGURATION, &val);

            int err = afe_write_reg(max32664_dev, 0x24, value & 0xFF);
            printk("BLE: Set LED2 current reg 0x24 = 0x%02X err=%d\n", value & 0xFF, err);
            k_mutex_unlock(&session_lock);
            break;
        }



        case CTRL_CMD_ADC_RANGE: { // ADC range / effective gain via reg 0x11[3:2]
            uint8_t r11;
            k_mutex_lock(&session_lock, K_FOREVER);
            int err = afe_read_reg(max32664_dev, 0x11, &r11);
            if (err) {
                printk("BLE: failed to read reg 0x11 err=%d\n", err);
                k_mutex_unlock(&session_lock);
                break;
            }

            // set adc range of both PPG1 and PPG2
            uint8_t range = value & 0x03;
            uint8_t reg_val = (r11 & 0xC3) | (range << 2) | (range << 4);

            err = afe_write_reg(max32664_dev, 0x11, reg_val);
            printk("BLE: Set ADC range reg 0x11 = 0x%02X err=%d\n", reg_val, err);
            k_mutex_unlock(&session_lock);
            break;
        }

        case CTRL_CMD_INTEGRATION_TIME: { // integration time
            uint8_t r11;
            k_mutex_lock(&session_lock, K_FOREVER);
            int err = afe_read_reg(max32664_dev, 0x11, &r11);
            if (!err) {
                uint8_t reg_val = (r11 & 0xFC) | (value & 0x03);
                err = afe_write_reg(max32664_dev, 0x11, reg_val);
                printk("BLE: Set reg 0x11 = 0x%02X err=%d\n", reg_val, err);
            } else {
                printk("BLE: failed to read reg 0x11 err=%d\n", err);
            }
            k_mutex_unlock(&session_lock);
            break;
        }

        case CTRL_CMD_DELIVERED_RATE: { // delivered rate selector
            static const uint8_t delivered_to_afe_sr_map[] = {0x00, 0x01, 0x02, 0x03, 0x04, 0x05};

            if (value >= ARRAY_SIZE(delivered_to_afe_sr_map)) {
                printk("BLE: invalid rate idx=%u\n", value);
                break;
            }

            k_mutex_lock(&session_lock, K_FOREVER);

            current_ppg_sr_code = delivered_to_afe_sr_map[value];
            uint8_t reg12 = make_reg12(current_ppg_sr_code, current_smp_ave_code);

            // int err = afe_write_reg(max32664_dev, 0x12, 0x20);

            int err = afe_write_reg(max32664_dev, 0x12, reg12);
            k_mutex_unlock(&session_lock);

            printk("BLE: Set delivered-rate idx=%u -> reg 0x12 = 0x%02X err=%d\n",
                    value, reg12, err);
            break;
        }

        case CTRL_CMD_AVERAGING: { // averaging
            k_mutex_lock(&session_lock, K_FOREVER);
            current_smp_ave_code = value & 0x07;
            uint8_t reg12 = make_reg12(current_ppg_sr_code, current_smp_ave_code);

            int err = afe_write_reg(max32664_dev, 0x12, reg12);
            k_mutex_unlock(&session_lock);

            printk("BLE: Set averaging code=%u -> reg 0x12 = 0x%02X err=%d\n",
                current_smp_ave_code, reg12, err);

            break;
        }
        case CTRL_CMT_PICKET_FENCE: {
            k_mutex_lock(&session_lock, K_FOREVER);

            uint8_t r16;
            int err = afe_read_reg(max32664_dev, 0x16, &r16);
            if (!err) {
                r16 = (r16 & ~(1u << 7)) | ((value & 0x01) << 7);
                err = afe_write_reg(max32664_dev, 0x16, r16);
            }
            k_mutex_unlock(&session_lock);

            printk("BLE: Set picket fence reg 0x16 = 0x%02X err=%d\n", r16, err);
            break;
        }
    }
    k_msleep(5);

    return len;
}
```

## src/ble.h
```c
#ifndef BLE_H_
#define BLE_H_

#include <stdint.h>
#include <stdbool.h>

/* Function declarations */
int ble_init(void);
int ble_send_sensor_data(const void *data, uint16_t len);
bool ble_is_ready(void);
int ble_disconnect_current(void);

#endif
```

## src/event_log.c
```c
#include "event_log.h"

#include <zephyr/kernel.h>
#include <zephyr/sys/printk.h>
#include <zephyr/sys/util.h>
#include <zephyr/toolchain.h>

#define EVENT_LOG_MAGIC 0x45564C47u

struct event_log_state {
    uint32_t magic;
    uint32_t boot_count;
    uint32_t write_seq;
    struct event_log_entry entries[EVENT_LOG_CAPACITY];
};

static struct event_log_state event_log_state __noinit;

void event_log_init(void)
{
    if (event_log_state.magic != EVENT_LOG_MAGIC) {
        event_log_state.magic = EVENT_LOG_MAGIC;
        event_log_state.boot_count = 0;
        event_log_state.write_seq = 0;
        for (size_t i = 0; i < EVENT_LOG_CAPACITY; i++) {
            event_log_state.entries[i] = (struct event_log_entry){0};
        }
    }

    event_log_state.boot_count++;
}

void event_log_add(uint16_t id, int16_t arg)
{
    uint32_t seq = event_log_state.write_seq++;
    struct event_log_entry *entry = &event_log_state.entries[seq % EVENT_LOG_CAPACITY];

    entry->seq = seq;
    entry->uptime_ms = (uint32_t)k_uptime_get();
    entry->id = id;
    entry->arg = arg;
}

size_t event_log_snapshot(struct event_log_entry *out, size_t max_entries)
{
    uint32_t write_seq = event_log_state.write_seq;
    size_t total = MIN((size_t)write_seq, (size_t)EVENT_LOG_CAPACITY);
    size_t count = MIN(total, max_entries);
    size_t start = (write_seq > EVENT_LOG_CAPACITY) ? (write_seq % EVENT_LOG_CAPACITY) : 0U;

    for (size_t i = 0; i < count; i++) {
        out[i] = event_log_state.entries[(start + i) % EVENT_LOG_CAPACITY];
    }

    return count;
}

void event_log_dump(void)
{
    uint32_t write_seq = event_log_state.write_seq;
    size_t count = MIN((size_t)write_seq, (size_t)EVENT_LOG_CAPACITY);
    size_t start = (write_seq > EVENT_LOG_CAPACITY) ? (write_seq % EVENT_LOG_CAPACITY) : 0U;

    printk("Event log dump: boots=%u count=%u\n",
           (unsigned int)event_log_state.boot_count,
           (unsigned int)count);

    for (size_t i = 0; i < count; i++) {
        const struct event_log_entry *entry =
            &event_log_state.entries[(start + i) % EVENT_LOG_CAPACITY];

        printk("[%u] seq=%u t=%u id=%u arg=%d\n",
               (unsigned int)i,
               (unsigned int)entry->seq,
               (unsigned int)entry->uptime_ms,
               (unsigned int)entry->id,
               (int)entry->arg);
    }
}

uint32_t event_log_boot_count(void)
{
    return event_log_state.boot_count;
}
```

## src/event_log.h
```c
#ifndef EVENT_LOG_H_
#define EVENT_LOG_H_

#include <stddef.h>
#include <stdint.h>

#define EVENT_LOG_CAPACITY 128U

enum event_log_id {
    EVENT_LOG_BOOT = 1,
    EVENT_LOG_MAIN_ENTER,
    EVENT_LOG_SENSOR_READY,
    EVENT_LOG_BLE_INIT_START,
    EVENT_LOG_BLE_INIT_DONE,
    EVENT_LOG_ADV_STARTED,
    EVENT_LOG_BLE_CONNECTED,
    EVENT_LOG_BLE_DISCONNECTED,
    EVENT_LOG_SESSION_START,
    EVENT_LOG_SESSION_STOP,
    EVENT_LOG_LOW_BATT_CHECK,
    EVENT_LOG_LOW_BATT_SHUTDOWN,
    EVENT_LOG_SENSOR_FETCH_ERR,
};

struct event_log_entry {
    uint32_t seq;
    uint32_t uptime_ms;
    uint16_t id;
    int16_t arg;
};

void event_log_init(void);
void event_log_add(uint16_t id, int16_t arg);
size_t event_log_snapshot(struct event_log_entry *out, size_t max_entries);
void event_log_dump(void);
uint32_t event_log_boot_count(void);

#endif
```
